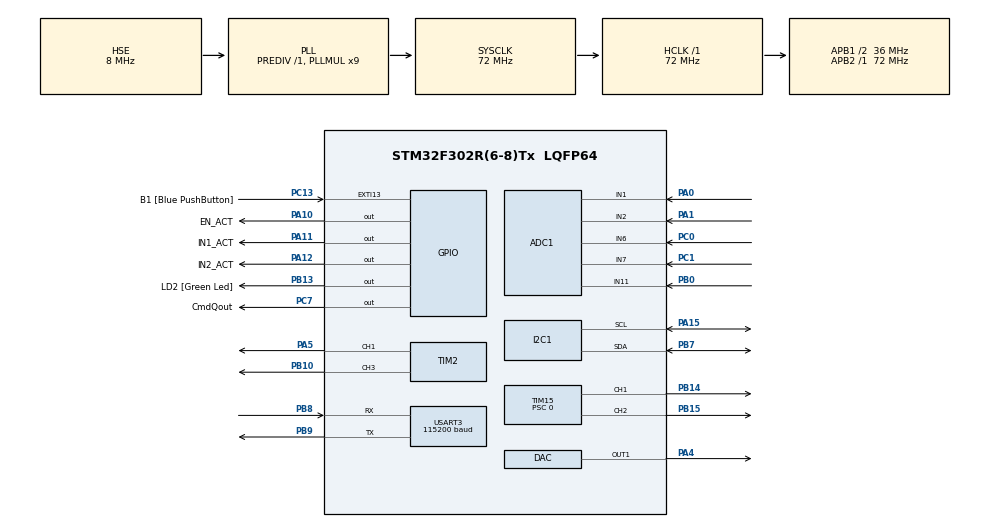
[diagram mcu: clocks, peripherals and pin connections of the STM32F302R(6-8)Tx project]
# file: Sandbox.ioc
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ADC1.Channel-0\#ChannelRegularConversion=ADC_CHANNEL_1
ADC1.Channel-3\#ChannelRegularConversion=ADC_CHANNEL_11
ADC1.Channel-4\#ChannelRegularConversion=ADC_CHANNEL_6
ADC1.Channel-5\#ChannelRegularConversion=ADC_CHANNEL_7
ADC1.ContinuousConvMode=ENABLE
ADC1.DMAContinuousRequests=ENABLE
ADC1.EOCSelection=ADC_EOC_SINGLE_CONV
ADC1.EnableInjectedConversion=DISABLE
ADC1.NbrOfConversion=4
ADC1.NbrOfConversionFlag=1
ADC1.Offset-0\#ChannelRegularConversion=0
ADC1.Offset-3\#ChannelRegularConversion=0
ADC1.Offset-4\#ChannelRegularConversion=0
ADC1.Offset-5\#ChannelRegularConversion=0
ADC1.OffsetNumber-0\#ChannelRegularConversion=ADC_OFFSET_NONE
ADC1.OffsetNumber-3\#ChannelRegularConversion=ADC_OFFSET_NONE
ADC1.OffsetNumber-4\#ChannelRegularConversion=ADC_OFFSET_NONE
ADC1.OffsetNumber-5\#ChannelRegularConversion=ADC_OFFSET_NONE
ADC1.Rank-0\#ChannelRegularConversion=1
ADC1.Rank-3\#ChannelRegularConversion=2
ADC1.Rank-4\#ChannelRegularConversion=3
ADC1.Rank-5\#ChannelRegularConversion=4
ADC1.SamplingTime-0\#ChannelRegularConversion=ADC_SAMPLETIME_7CYCLES_5
ADC1.SamplingTime-3\#ChannelRegularConversion=ADC_SAMPLETIME_7CYCLES_5
ADC1.SamplingTime-4\#ChannelRegularConversion=ADC_SAMPLETIME_7CYCLES_5
ADC1.SamplingTime-5\#ChannelRegularConversion=ADC_SAMPLETIME_7CYCLES_5
ADC1.SequencerNbRanks=1
ADC1.SubFamily=STM32F302x8
ADC1.master=1
DAC.DAC_Trigger=DAC_TRIGGER_NONE
Dma.ADC1.0.Direction=DMA_PERIPH_TO_MEMORY
Dma.ADC1.0.Instance=DMA1_Channel1
Dma.ADC1.0.MemDataAlignment=DMA_MDATAALIGN_WORD
Dma.ADC1.0.MemInc=DMA_MINC_ENABLE
Dma.ADC1.0.Mode=DMA_CIRCULAR
Dma.ADC1.0.PeriphDataAlignment=DMA_PDATAALIGN_HALFWORD
Dma.ADC1.0.PeriphInc=DMA_PINC_DISABLE
Dma.ADC1.0.Priority=DMA_PRIORITY_HIGH
Dma.Request0=ADC1
Dma.Request1=USART3_TX
Dma.USART3_TX.1.Direction=DMA_MEMORY_TO_PERIPH
Dma.USART3_TX.1.Instance=DMA1_Channel2
Dma.USART3_TX.1.MemDataAlignment=DMA_MDATAALIGN_BYTE
Dma.USART3_TX.1.MemInc=DMA_MINC_ENABLE
Dma.USART3_TX.1.Mode=DMA_NORMAL
Dma.USART3_TX.1.PeriphDataAlignment=DMA_PDATAALIGN_BYTE
Dma.USART3_TX.1.PeriphInc=DMA_PINC_DISABLE
Dma.USART3_TX.1.Priority=DMA_PRIORITY_LOW
Mcu.Family=STM32F3
Mcu.Name=STM32F302R(6-8)Tx
Mcu.Package=LQFP64
Mcu.UserConstants=TIM15_PERIOD_TICKS,4800;TIM2_PERIOD_TICKS,2400
NVIC.DMA1_Channel1_IRQn=true\:0\:0\:false\:false\:true\:false\:true\:true
NVIC.DMA1_Channel2_IRQn=true\:0\:0\:false\:false\:true\:false\:true\:true
NVIC.I2C1_EV_IRQn=true\:0\:0\:false\:false\:true\:true\:true\:true
NVIC.PriorityGroup=NVIC_PRIORITYGROUP_0
NVIC.USART3_IRQn=true\:0\:0\:false\:false\:true\:true\:true\:true
PA0.Mode=IN1-Single-Ended
PA0.Signal=ADC1_IN1
PA1.Mode=IN2-Single-Ended
PA1.Signal=ADC1_IN2
PA10.GPIO_Label=EN_ACT
PA10.GPIO_PuPd=GPIO_PULLDOWN
PA10.Signal=GPIO_Output
PA11.GPIO_Label=IN1_ACT
PA11.GPIO_PuPd=GPIO_PULLDOWN
PA11.Signal=GPIO_Output
PA12.GPIO_Label=IN2_ACT
PA12.GPIO_PuPd=GPIO_PULLDOWN
PA12.Signal=GPIO_Output
PA13.GPIO_Label=TMS
PA13.Mode=Serial_Wire
PA13.Signal=SYS_JTMS-SWDIO
PA14.GPIO_Label=TCK
PA14.Mode=Serial_Wire
PA14.Signal=SYS_JTCK-SWCLK
PA15.GPIO_Speed=GPIO_SPEED_FREQ_LOW
PA15.Mode=I2C
PA15.Signal=I2C1_SCL
PA2.GPIO_Label=USART_TX
PA2.GPIO_Mode=GPIO_MODE_AF_PP
PA2.GPIO_PuPd=GPIO_NOPULL
PA2.GPIO_Speed=GPIO_SPEED_FREQ_LOW
PA2.Signal=USART2_TX
PA3.GPIO_Label=USART_RX
PA3.GPIO_Mode=GPIO_MODE_AF_PP
PA3.GPIO_PuPd=GPIO_NOPULL
PA3.GPIO_Speed=GPIO_SPEED_FREQ_LOW
PA3.Signal=USART2_RX
PA4.Signal=COMP_DAC1_group
PA5.Signal=S_TIM2_CH1_ETR
PB0.Mode=IN11-Single-Ended
PB0.Signal=ADC1_IN11
PB10.Signal=S_TIM2_CH3
PB13.GPIO_Label=LD2 [Green Led]
PB13.Signal=GPIO_Output
PB14.GPIO_PuPd=GPIO_NOPULL
PB14.GPIO_Speed=GPIO_SPEED_FREQ_HIGH
PB14.Signal=S_TIM15_CH1
PB15.Signal=S_TIM15_CH2
PB3.GPIO_Label=SWO
PB3.Mode=Trace_Asynchronous_SW
PB3.Signal=SYS_JTDO-TRACESWO
PB7.GPIO_Speed=GPIO_SPEED_FREQ_LOW
PB7.Mode=I2C
PB7.Signal=I2C1_SDA
PB8.Mode=Asynchronous
PB8.Signal=USART3_RX
PB9.Mode=Asynchronous
PB9.Signal=USART3_TX
PC0.Signal=ADCx_IN6
PC1.Signal=ADCx_IN7
PC13.GPIO_Label=B1 [Blue PushButton]
PC13.GPIO_ModeDefaultEXTI=GPIO_MODE_IT_FALLING
PC13.Signal=GPXTI13
PC14\ -\ OSC32_IN.Mode=LSE-External-Oscillator
PC14\ -\ OSC32_IN.Signal=RCC_OSC32_IN
PC15\ -\ OSC32_OUT.Mode=LSE-External-Oscillator
PC15\ -\ OSC32_OUT.Signal=RCC_OSC32_OUT
PC7.GPIO_Label=CmdQout
PC7.GPIO_PuPd=GPIO_PULLDOWN
PC7.GPIO_Speed=GPIO_SPEED_FREQ_MEDIUM
PC7.Signal=GPIO_Output
PF0-OSC_IN.Mode=HSE-External-Clock-Source
PF0-OSC_IN.Signal=RCC_OSC_IN
PF1-OSC_OUT.Signal=RCC_OSC_OUT
ProjectManager.HeapSize=0x200
ProjectManager.StackSize=0x400
ProjectManager.TargetToolchain=STM32CubeIDE
RCC.AHBFreq_Value=72000000
RCC.APB1CLKDivider=RCC_HCLK_DIV2
RCC.APB1Freq_Value=36000000
RCC.APB1TimFreq_Value=72000000
RCC.APB2Freq_Value=72000000
RCC.APB2TimFreq_Value=72000000
RCC.CortexFreq_Value=72000000
RCC.HCLKFreq_Value=72000000
RCC.HSE_VALUE=8000000
RCC.HSI_VALUE=8000000
RCC.PLLM=8
RCC.PLLMUL=RCC_PLL_MUL9
RCC.PLLN=336
RCC.PLLP=RCC_PLLP_DIV4
RCC.PLLQ=7
RCC.PLLSourceVirtual=RCC_PLLSOURCE_HSE
RCC.SYSCLKFreq_VALUE=72000000
RCC.SYSCLKSourceVirtual=RCC_SYSCLKSOURCE_PLLCLK
RCC.TIM15Selection=RCC_TIM15CLK_PLLCLK
RCC.USBFreq_Value=72000000
SH.ADCx_IN6.0=ADC1_IN6,IN6-Single-Ended
SH.ADCx_IN7.0=ADC1_IN7,IN7-Single-Ended
SH.COMP_DAC1_group.0=DAC_OUT1,DAC_OUT1
SH.S_TIM15_CH1.0=TIM15_CH1,PWM Generation1 CH1
SH.S_TIM15_CH2.0=TIM15_CH2,PWM Generation2 CH2
SH.S_TIM2_CH1_ETR.0=TIM2_CH1,PWM Generation1 CH1
SH.S_TIM2_CH3.0=TIM2_CH3,PWM Generation3 CH3
TIM15.AutoReloadPreload=TIM_AUTORELOAD_PRELOAD_ENABLE
TIM15.AutomaticOutput=TIM_AUTOMATICOUTPUT_DISABLE
TIM15.Channel-PWM\ Generation1\ CH1=TIM_CHANNEL_1
TIM15.Channel-PWM\ Generation2\ CH2=TIM_CHANNEL_2
TIM15.OC1Preload_PWM=DISABLE
TIM15.OC2Preload_PWM=DISABLE
TIM15.Period=TIM15_PERIOD_TICKS
TIM15.Prescaler=0
TIM2.AutoReloadPreload=TIM_AUTORELOAD_PRELOAD_ENABLE
TIM2.Channel-PWM\ Generation1\ CH1=TIM_CHANNEL_1
TIM2.Channel-PWM\ Generation3\ CH3=TIM_CHANNEL_3
TIM2.OC1Preload_PWM=DISABLE
TIM2.OC3Preload_PWM=DISABLE
TIM2.Period=TIM2_PERIOD_TICKS
USART3.BaudRate=115200
USART3.VirtualMode-Asynchronous=VM_ASYNC
USART3.WordLength=WORDLENGTH_8B
board=NUCLEO-F302R8

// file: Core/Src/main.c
/* USER CODE BEGIN Header */
/**
  ******************************************************************************
  * @file           : main.c
  * @brief          : Main program body
  ******************************************************************************
  * @attention
  *
  * <h2><center>&copy; Copyright (c) 2021 STMicroelectronics.
  * All rights reserved.</center></h2>
  *
  * This software component is licensed by ST under BSD 3-Clause license,
  * the "License"; You may not use this file except in compliance with the
  * License. You may obtain a copy of the License at:
  *                        opensource.org/licenses/BSD-3-Clause
  *
  ******************************************************************************
  */
/* USER CODE END Header */
#include "main.h"

/* USER CODE BEGIN Includes */
#include "threads.hpp"
/* USER CODE END Includes */

ADC_HandleTypeDef hadc1;
DMA_HandleTypeDef hdma_adc1;

DAC_HandleTypeDef hdac;

I2C_HandleTypeDef hi2c1;

TIM_HandleTypeDef htim2;
TIM_HandleTypeDef htim15;

UART_HandleTypeDef huart3;
DMA_HandleTypeDef hdma_usart3_tx;

/* USER CODE BEGIN PV */

ADC_HandleTypeDef*  p_hadc1;
DMA_HandleTypeDef*  p_hdma_adc1;
DAC_HandleTypeDef*  p_hdac;
I2C_HandleTypeDef*  p_hi2c1;
TIM_HandleTypeDef*  p_htim2;
TIM_HandleTypeDef*  p_htim15;
UART_HandleTypeDef* p_huart3;
DMA_HandleTypeDef*  p_hdma_usart3_tx;

/* USER CODE END PV */

void SystemClock_Config(void);
static void MX_GPIO_Init(void);
static void MX_ADC1_Init(void);
static void MX_USART3_UART_Init(void);
static void MX_DMA_Init(void);
static void MX_DAC_Init(void);
static void MX_I2C1_Init(void);
static void MX_TIM15_Init(void);
static void MX_TIM2_Init(void);

int main(void)
{
  /* USER CODE BEGIN 1 */

  p_hadc1           = &hadc1;
  p_hdma_adc1       = &hdma_adc1;
  p_hdac            = &hdac;
  p_hi2c1           = &hi2c1;
  p_htim2           = &htim2;
  p_htim15          = &htim15;
  p_huart3          = &huart3;
  p_hdma_usart3_tx  = &hdma_usart3_tx;

  /* USER CODE END 1 */

  /* MCU Configuration--------------------------------------------------------*/

  /* Reset of all peripherals, Initializes the Flash interface and the Systick. */
  HAL_Init();

  /* Configure the system clock */
  SystemClock_Config();

  /* USER CODE BEGIN SysInit */

  // TODO: !!! DMA to be initialised before ADC and other peripherals !!! ////////
  //MX_GPIO_Init();
  //MX_USART2_UART_Init();
  //MX_DMA_Init();
  //MX_ADC1_Init();
  //MX_USART3_UART_Init();
  //MX_DAC_Init();
  //MX_I2C1_Init();
  //MX_TIM15_Init();

  HAL_NVIC_SetPriorityGrouping(NVIC_PRIORITYGROUP_4);
  // ??? TODO: !!! Comment in MX_DMA_Init() : HAL_NVIC_EnableIRQ(DMA1_Channel1_IRQn); --> No interrupt required

  /* USER CODE END SysInit */

  /* Initialize all configured peripherals */
  MX_GPIO_Init();
  MX_DMA_Init();
  MX_ADC1_Init();
  MX_USART3_UART_Init();
  MX_DAC_Init();
  MX_I2C1_Init();
  MX_TIM15_Init();
  MX_TIM2_Init();
  /* USER CODE BEGIN 2 */

  init_threads();

  /* USER CODE END 2 */

  /* Infinite loop */
  /* USER CODE BEGIN WHILE */
  int a = 0;
  int flag = 0;

  while (1)
  {
    tick_polled();

    a++;
    if(a/100000 >= 1)
    {
        if (flag != 0)
        {
            HAL_GPIO_WritePin(LD2_GPIO_Port, LD2_Pin, GPIO_PIN_RESET);
            flag = 0;
        }
        else
        {
            HAL_GPIO_WritePin(LD2_GPIO_Port, LD2_Pin, GPIO_PIN_SET);
            flag = 1;
        }
        a = 0;
    }

    /* USER CODE END WHILE */

  }
}

void SystemClock_Config(void)
{
  RCC_OscInitTypeDef RCC_OscInitStruct = {0};
  RCC_ClkInitTypeDef RCC_ClkInitStruct = {0};
  RCC_PeriphCLKInitTypeDef PeriphClkInit = {0};

  /** Initializes the RCC Oscillators according to the specified parameters
  * in the RCC_OscInitTypeDef structure.
  */
  RCC_OscInitStruct.OscillatorType = RCC_OSCILLATORTYPE_HSI|RCC_OSCILLATORTYPE_HSE;
  RCC_OscInitStruct.HSEState = RCC_HSE_BYPASS;
  RCC_OscInitStruct.HSEPredivValue = RCC_HSE_PREDIV_DIV1;
  RCC_OscInitStruct.HSIState = RCC_HSI_ON;
  RCC_OscInitStruct.HSICalibrationValue = RCC_HSICALIBRATION_DEFAULT;
  RCC_OscInitStruct.PLL.PLLState = RCC_PLL_ON;
  RCC_OscInitStruct.PLL.PLLSource = RCC_PLLSOURCE_HSE;
  RCC_OscInitStruct.PLL.PLLMUL = RCC_PLL_MUL9;
  if (HAL_RCC_OscConfig(&RCC_OscInitStruct) != HAL_OK)
  {
    Error_Handler();
  }

  /** Initializes the CPU, AHB and APB buses clocks
  */
  RCC_ClkInitStruct.ClockType = RCC_CLOCKTYPE_HCLK|RCC_CLOCKTYPE_SYSCLK
                              |RCC_CLOCKTYPE_PCLK1|RCC_CLOCKTYPE_PCLK2;
  RCC_ClkInitStruct.SYSCLKSource = RCC_SYSCLKSOURCE_PLLCLK;
  RCC_ClkInitStruct.AHBCLKDivider = RCC_SYSCLK_DIV1;
  RCC_ClkInitStruct.APB1CLKDivider = RCC_HCLK_DIV2;
  RCC_ClkInitStruct.APB2CLKDivider = RCC_HCLK_DIV1;

  if (HAL_RCC_ClockConfig(&RCC_ClkInitStruct, FLASH_LATENCY_2) != HAL_OK)
  {
    Error_Handler();
  }
  PeriphClkInit.PeriphClockSelection = RCC_PERIPHCLK_I2C1|RCC_PERIPHCLK_TIM15
                              |RCC_PERIPHCLK_ADC1;
  PeriphClkInit.I2c1ClockSelection = RCC_I2C1CLKSOURCE_HSI;
  PeriphClkInit.Tim15ClockSelection = RCC_TIM15CLK_PLLCLK;
  PeriphClkInit.Adc1ClockSelection = RCC_ADC1PLLCLK_DIV1;

  if (HAL_RCCEx_PeriphCLKConfig(&PeriphClkInit) != HAL_OK)
  {
    Error_Handler();
  }
}

static void MX_ADC1_Init(void)
{

  ADC_ChannelConfTypeDef sConfig = {0};

  /** Common config
  */
  hadc1.Instance = ADC1;
  hadc1.Init.ClockPrescaler = ADC_CLOCK_ASYNC_DIV1;
  hadc1.Init.Resolution = ADC_RESOLUTION_12B;
  hadc1.Init.ScanConvMode = ADC_SCAN_ENABLE;
  hadc1.Init.ContinuousConvMode = ENABLE;
  hadc1.Init.DiscontinuousConvMode = DISABLE;
  hadc1.Init.ExternalTrigConvEdge = ADC_EXTERNALTRIGCONVEDGE_NONE;
  hadc1.Init.ExternalTrigConv = ADC_SOFTWARE_START;
  hadc1.Init.DataAlign = ADC_DATAALIGN_RIGHT;
  hadc1.Init.NbrOfConversion = 4;
  hadc1.Init.DMAContinuousRequests = ENABLE;
  hadc1.Init.EOCSelection = ADC_EOC_SINGLE_CONV;
  hadc1.Init.LowPowerAutoWait = DISABLE;
  hadc1.Init.Overrun = ADC_OVR_DATA_OVERWRITTEN;
  if (HAL_ADC_Init(&hadc1) != HAL_OK)
  {
    Error_Handler();
  }

  /** Configure Regular Channel
  */
  sConfig.Channel = ADC_CHANNEL_1;
  sConfig.Rank = ADC_REGULAR_RANK_1;
  sConfig.SingleDiff = ADC_SINGLE_ENDED;
  sConfig.SamplingTime = ADC_SAMPLETIME_7CYCLES_5;
  sConfig.OffsetNumber = ADC_OFFSET_NONE;
  sConfig.Offset = 0;
  if (HAL_ADC_ConfigChannel(&hadc1, &sConfig) != HAL_OK)
  {
    Error_Handler();
  }

  /** Configure Regular Channel
  */
  sConfig.Channel = ADC_CHANNEL_11;
  sConfig.Rank = ADC_REGULAR_RANK_2;
  if (HAL_ADC_ConfigChannel(&hadc1, &sConfig) != HAL_OK)
  {
    Error_Handler();
  }

  /** Configure Regular Channel
  */
  sConfig.Channel = ADC_CHANNEL_6;
  sConfig.Rank = ADC_REGULAR_RANK_3;
  if (HAL_ADC_ConfigChannel(&hadc1, &sConfig) != HAL_OK)
  {
    Error_Handler();
  }

  /** Configure Regular Channel
  */
  sConfig.Channel = ADC_CHANNEL_7;
  sConfig.Rank = ADC_REGULAR_RANK_4;
  if (HAL_ADC_ConfigChannel(&hadc1, &sConfig) != HAL_OK)
  {
    Error_Handler();
  }

}

static void MX_DAC_Init(void)
{

  DAC_ChannelConfTypeDef sConfig = {0};

  /** DAC Initialization
  */
  hdac.Instance = DAC;
  if (HAL_DAC_Init(&hdac) != HAL_OK)
  {
    Error_Handler();
  }

  /** DAC channel OUT1 config
  */
  sConfig.DAC_Trigger = DAC_TRIGGER_NONE;
  sConfig.DAC_OutputBuffer = DAC_OUTPUTBUFFER_ENABLE;
  if (HAL_DAC_ConfigChannel(&hdac, &sConfig, DAC_CHANNEL_1) != HAL_OK)
  {
    Error_Handler();
  }
  /* USER CODE BEGIN DAC_Init 2 */

  DAC1->DHR12R1 = 0;
  HAL_DAC_Start(&hdac, DAC_CHANNEL_1);
  /* USER CODE END DAC_Init 2 */

}

static void MX_I2C1_Init(void)
{

  hi2c1.Instance = I2C1;
  hi2c1.Init.Timing = 0x2000090E;
  hi2c1.Init.OwnAddress1 = 0;
  hi2c1.Init.AddressingMode = I2C_ADDRESSINGMODE_7BIT;
  hi2c1.Init.DualAddressMode = I2C_DUALADDRESS_DISABLE;
  hi2c1.Init.OwnAddress2 = 0;
  hi2c1.Init.OwnAddress2Masks = I2C_OA2_NOMASK;
  hi2c1.Init.GeneralCallMode = I2C_GENERALCALL_DISABLE;
  hi2c1.Init.NoStretchMode = I2C_NOSTRETCH_DISABLE;
  if (HAL_I2C_Init(&hi2c1) != HAL_OK)
  {
    Error_Handler();
  }

  /** Configure Analogue filter
  */
  if (HAL_I2CEx_ConfigAnalogFilter(&hi2c1, I2C_ANALOGFILTER_ENABLE) != HAL_OK)
  {
    Error_Handler();
  }

  /** Configure Digital filter
  */
  if (HAL_I2CEx_ConfigDigitalFilter(&hi2c1, 0) != HAL_OK)
  {
    Error_Handler();
  }

}

static void MX_TIM2_Init(void)
{

  TIM_MasterConfigTypeDef sMasterConfig = {0};
  TIM_OC_InitTypeDef sConfigOC = {0};

  htim2.Instance = TIM2;
  htim2.Init.Prescaler = 0;
  htim2.Init.CounterMode = TIM_COUNTERMODE_UP;
  htim2.Init.Period = TIM2_PERIOD_TICKS;
  htim2.Init.ClockDivision = TIM_CLOCKDIVISION_DIV1;
  htim2.Init.AutoReloadPreload = TIM_AUTORELOAD_PRELOAD_ENABLE;
  if (HAL_TIM_PWM_Init(&htim2) != HAL_OK)
  {
    Error_Handler();
  }
  sMasterConfig.MasterOutputTrigger = TIM_TRGO_RESET;
  sMasterConfig.MasterSlaveMode = TIM_MASTERSLAVEMODE_DISABLE;
  if (HAL_TIMEx_MasterConfigSynchronization(&htim2, &sMasterConfig) != HAL_OK)
  {
    Error_Handler();
  }
  sConfigOC.OCMode = TIM_OCMODE_PWM1;
  sConfigOC.Pulse = 0;
  sConfigOC.OCPolarity = TIM_OCPOLARITY_HIGH;
  sConfigOC.OCFastMode = TIM_OCFAST_DISABLE;
  if (HAL_TIM_PWM_ConfigChannel(&htim2, &sConfigOC, TIM_CHANNEL_1) != HAL_OK)
  {
    Error_Handler();
  }
  __HAL_TIM_DISABLE_OCxPRELOAD(&htim2, TIM_CHANNEL_1);
  if (HAL_TIM_PWM_ConfigChannel(&htim2, &sConfigOC, TIM_CHANNEL_3) != HAL_OK)
  {
    Error_Handler();
  }
  __HAL_TIM_DISABLE_OCxPRELOAD(&htim2, TIM_CHANNEL_3);
  HAL_TIM_MspPostInit(&htim2);

}

static void MX_TIM15_Init(void)
{

  TIM_MasterConfigTypeDef sMasterConfig = {0};
  TIM_OC_InitTypeDef sConfigOC = {0};
  TIM_BreakDeadTimeConfigTypeDef sBreakDeadTimeConfig = {0};

  htim15.Instance = TIM15;
  htim15.Init.Prescaler = 0;
  htim15.Init.CounterMode = TIM_COUNTERMODE_UP;
  htim15.Init.Period = TIM15_PERIOD_TICKS;
  htim15.Init.ClockDivision = TIM_CLOCKDIVISION_DIV1;
  htim15.Init.RepetitionCounter = 0;
  htim15.Init.AutoReloadPreload = TIM_AUTORELOAD_PRELOAD_ENABLE;
  if (HAL_TIM_PWM_Init(&htim15) != HAL_OK)
  {
    Error_Handler();
  }
  sMasterConfig.MasterOutputTrigger = TIM_TRGO_RESET;
  sMasterConfig.MasterSlaveMode = TIM_MASTERSLAVEMODE_DISABLE;
  if (HAL_TIMEx_MasterConfigSynchronization(&htim15, &sMasterConfig) != HAL_OK)
  {
    Error_Handler();
  }
  sConfigOC.OCMode = TIM_OCMODE_PWM1;
  sConfigOC.Pulse = 0;
  sConfigOC.OCPolarity = TIM_OCPOLARITY_HIGH;
  sConfigOC.OCNPolarity = TIM_OCNPOLARITY_HIGH;
  sConfigOC.OCFastMode = TIM_OCFAST_DISABLE;
  sConfigOC.OCIdleState = TIM_OCIDLESTATE_RESET;
  sConfigOC.OCNIdleState = TIM_OCNIDLESTATE_RESET;
  if (HAL_TIM_PWM_ConfigChannel(&htim15, &sConfigOC, TIM_CHANNEL_1) != HAL_OK)
  {
    Error_Handler();
  }
  __HAL_TIM_DISABLE_OCxPRELOAD(&htim15, TIM_CHANNEL_1);
  if (HAL_TIM_PWM_ConfigChannel(&htim15, &sConfigOC, TIM_CHANNEL_2) != HAL_OK)
  {
    Error_Handler();
  }
  __HAL_TIM_DISABLE_OCxPRELOAD(&htim15, TIM_CHANNEL_2);
  sBreakDeadTimeConfig.OffStateRunMode = TIM_OSSR_DISABLE;
  sBreakDeadTimeConfig.OffStateIDLEMode = TIM_OSSI_DISABLE;
  sBreakDeadTimeConfig.LockLevel = TIM_LOCKLEVEL_OFF;
  sBreakDeadTimeConfig.DeadTime = 0;
  sBreakDeadTimeConfig.BreakState = TIM_BREAK_DISABLE;
  sBreakDeadTimeConfig.BreakPolarity = TIM_BREAKPOLARITY_HIGH;
  sBreakDeadTimeConfig.BreakFilter = 0;
  sBreakDeadTimeConfig.AutomaticOutput = TIM_AUTOMATICOUTPUT_DISABLE;
  if (HAL_TIMEx_ConfigBreakDeadTime(&htim15, &sBreakDeadTimeConfig) != HAL_OK)
  {
    Error_Handler();
  }
  HAL_TIM_MspPostInit(&htim15);

}

static void MX_USART3_UART_Init(void)
{

  huart3.Instance = USART3;
  huart3.Init.BaudRate = 115200;
  huart3.Init.WordLength = UART_WORDLENGTH_8B;
  huart3.Init.StopBits = UART_STOPBITS_1;
  huart3.Init.Parity = UART_PARITY_NONE;
  huart3.Init.Mode = UART_MODE_TX_RX;
  huart3.Init.HwFlowCtl = UART_HWCONTROL_NONE;
  huart3.Init.OverSampling = UART_OVERSAMPLING_16;
  huart3.Init.OneBitSampling = UART_ONE_BIT_SAMPLE_DISABLE;
  huart3.AdvancedInit.AdvFeatureInit = UART_ADVFEATURE_NO_INIT;
  if (HAL_UART_Init(&huart3) != HAL_OK)
  {
    Error_Handler();
  }

}

static void MX_DMA_Init(void)
{

  /* DMA controller clock enable */
  __HAL_RCC_DMA1_CLK_ENABLE();

  /* DMA interrupt init */
  /* DMA1_Channel1_IRQn interrupt configuration */
  HAL_NVIC_SetPriority(DMA1_Channel1_IRQn, 0, 0);
  //HAL_NVIC_EnableIRQ(DMA1_Channel1_IRQn);
  /* DMA1_Channel2_IRQn interrupt configuration */
  HAL_NVIC_SetPriority(DMA1_Channel2_IRQn, 0, 0);
  HAL_NVIC_EnableIRQ(DMA1_Channel2_IRQn);

}

static void MX_GPIO_Init(void)
{
  GPIO_InitTypeDef GPIO_InitStruct = {0};

  /* GPIO Ports Clock Enable */
  __HAL_RCC_GPIOC_CLK_ENABLE();
  __HAL_RCC_GPIOF_CLK_ENABLE();
  __HAL_RCC_GPIOA_CLK_ENABLE();
  __HAL_RCC_GPIOB_CLK_ENABLE();

  /*Configure GPIO pin Output Level */
  HAL_GPIO_WritePin(LD2_GPIO_Port, LD2_Pin, GPIO_PIN_RESET);

  /*Configure GPIO pin Output Level */
  HAL_GPIO_WritePin(CmdQout_GPIO_Port, CmdQout_Pin, GPIO_PIN_RESET);

  /*Configure GPIO pin Output Level */
  HAL_GPIO_WritePin(GPIOA, EN_ACT_Pin|IN1_ACT_Pin|IN2_ACT_Pin, GPIO_PIN_RESET);

  /*Configure GPIO pin : B1_Pin */
  GPIO_InitStruct.Pin = B1_Pin;
  GPIO_InitStruct.Mode = GPIO_MODE_IT_FALLING;
  GPIO_InitStruct.Pull = GPIO_NOPULL;
  HAL_GPIO_Init(B1_GPIO_Port, &GPIO_InitStruct);

  /*Configure GPIO pins : USART_TX_Pin USART_RX_Pin */
  GPIO_InitStruct.Pin = USART_TX_Pin|USART_RX_Pin;
  GPIO_InitStruct.Mode = GPIO_MODE_AF_PP;
  GPIO_InitStruct.Pull = GPIO_NOPULL;
  GPIO_InitStruct.Speed = GPIO_SPEED_FREQ_LOW;
  GPIO_InitStruct.Alternate = GPIO_AF7_USART2;
  HAL_GPIO_Init(GPIOA, &GPIO_InitStruct);

  /*Configure GPIO pin : LD2_Pin */
  GPIO_InitStruct.Pin = LD2_Pin;
  GPIO_InitStruct.Mode = GPIO_MODE_OUTPUT_PP;
  GPIO_InitStruct.Pull = GPIO_NOPULL;
  GPIO_InitStruct.Speed = GPIO_SPEED_FREQ_LOW;
  HAL_GPIO_Init(LD2_GPIO_Port, &GPIO_InitStruct);

  /*Configure GPIO pin : CmdQout_Pin */
  GPIO_InitStruct.Pin = CmdQout_Pin;
  GPIO_InitStruct.Mode = GPIO_MODE_OUTPUT_PP;
  GPIO_InitStruct.Pull = GPIO_PULLDOWN;
  GPIO_InitStruct.Speed = GPIO_SPEED_FREQ_MEDIUM;
  HAL_GPIO_Init(CmdQout_GPIO_Port, &GPIO_InitStruct);

  /*Configure GPIO pins : EN_ACT_Pin IN1_ACT_Pin IN2_ACT_Pin */
  GPIO_InitStruct.Pin = EN_ACT_Pin|IN1_ACT_Pin|IN2_ACT_Pin;
  GPIO_InitStruct.Mode = GPIO_MODE_OUTPUT_PP;
  GPIO_InitStruct.Pull = GPIO_PULLDOWN;
  GPIO_InitStruct.Speed = GPIO_SPEED_FREQ_LOW;
  HAL_GPIO_Init(GPIOA, &GPIO_InitStruct);

}

void Error_Handler(void)
{
  __disable_irq();
  while (1)
  {
  }
}
